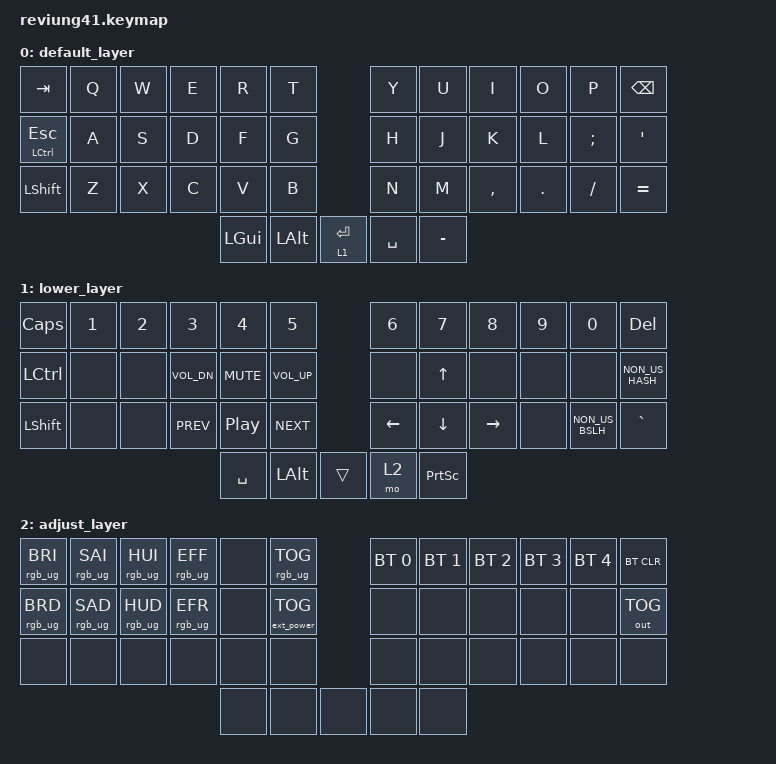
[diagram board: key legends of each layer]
/*
 * Copyright (c) 2020 The ZMK Contributors
 *
 * SPDX-License-Identifier: MIT
 */

#include <behaviors.dtsi>
#include <dt-bindings/zmk/keys.h>
#include <dt-bindings/zmk/bt.h>
#include <dt-bindings/zmk/rgb.h>
#include <dt-bindings/zmk/outputs.h>
#include <dt-bindings/zmk/ext_power.h>

/ {
        keymap {
                compatible = "zmk,keymap";

                default_layer {
// -------------------------------------------------------------------------------------
// | TAB       |  Q  |  W  |  E  |  R  |  T  |            |  Y  |  U  |  I  |  O  |  P  |BKSP |
// | CTRL(ESC) |  A  |  S  |  D  |  F  |  G  |            |  H  |  J  |  K  |  L  |  ;  |  '  |
// | SHFT      |  Z  |  X  |  C  |  V  |  B  |            |  N  |  M  |  ,  |  .  |  /  |  =  |
//                               | GUI | ALT | LWR(ENTER) | SPC |  -  |
                        bindings = <
   &kp TAB       &kp Q &kp W &kp E &kp R    &kp T                &kp Y     &kp U     &kp I     &kp O   &kp P    &kp BSPC
   &mt LCTRL ESC &kp A &kp S &kp D &kp F    &kp G                &kp H     &kp J     &kp K     &kp L   &kp SEMI &kp SQT
   &kp LSHFT     &kp Z &kp X &kp C &kp V    &kp B                &kp N     &kp M     &kp COMMA &kp DOT &kp FSLH &kp EQUAL
                                   &kp LGUI &kp LALT &lt 1 ENTER &kp SPACE &kp MINUS
                        >;
                };

                lower_layer {
// ----------------------------------------------------------------------------------
// |CAPS|  1  |  2  |  3  |  4  |  5  |          |  6  |  7  |  8  |  9  |  0  | DEL |
// |CTRL|     |     |VOLDN|MUTE |VOLUP|          |     | UP  |     |     |     |  #  |
// |SHFT|     |     |PREV |PLAY |NEXT |          |LEFT |DOWN |RIGHT|     |  \  |  `  |
//                        | SPC | ALT |          | ADJ |PRSC |
                        bindings = <
   &kp CLCK  &kp N1 &kp N2 &kp N3       &kp N4     &kp N5               &kp N6   &kp N7   &kp N8    &kp N9 &kp N0          &kp DEL
   &kp LCTRL &none  &none  &kp C_VOL_DN &kp C_MUTE &kp C_VOL_UP         &none    &kp UP   &none     &none  &none           &kp NON_US_HASH
   &kp LSHFT &none  &none  &kp C_PREV   &kp C_PP   &kp C_NEXT           &kp LEFT &kp DOWN &kp RIGHT &none  &kp NON_US_BSLH &kp GRAVE
                                        &kp SPACE  &kp LALT      &trans &mo 2    &kp PSCRN
                        >;
                };

                adjust_layer {
// -----------------------------------------------------------------------------------------
// | RGB BRI+ | RGB SAT+ | RGB HUE+ | RGB ANI+ |    | RGB TOG |           |  BT1  | BT2 | BT3 | BT4 | BT5 | BT CLR |
// | RGB BRI- | RGB SAT- | RGB HUE- | RGB ANI- |    | EP_TOG  |           |       |     |     |     |     |   TOG  |
// |          |          |          |          |    |         |           |       |     |     |     |     |        |
//                                             |    |         |           |       |     |
                        bindings = <
   &rgb_ug RGB_BRI &rgb_ug RGB_SAI &rgb_ug RGB_HUI &rgb_ug RGB_EFF &none &rgb_ug RGB_TOG       &bt BT_SEL 0 &bt BT_SEL 1 &bt BT_SEL 2 &bt BT_SEL 3 &bt BT_SEL 4 &bt BT_CLR
   &rgb_ug RGB_BRD &rgb_ug RGB_SAD &rgb_ug RGB_HUD &rgb_ug RGB_EFR &none &ext_power EP_TOG                &none        &none        &none        &none        &none        &out OUT_TOG
   &none           &none           &none           &none           &none &none                 &none        &none        &none        &none        &none        &none
                                                                   &none &none           &none &none        &none
                        >;
                };
        };
};
